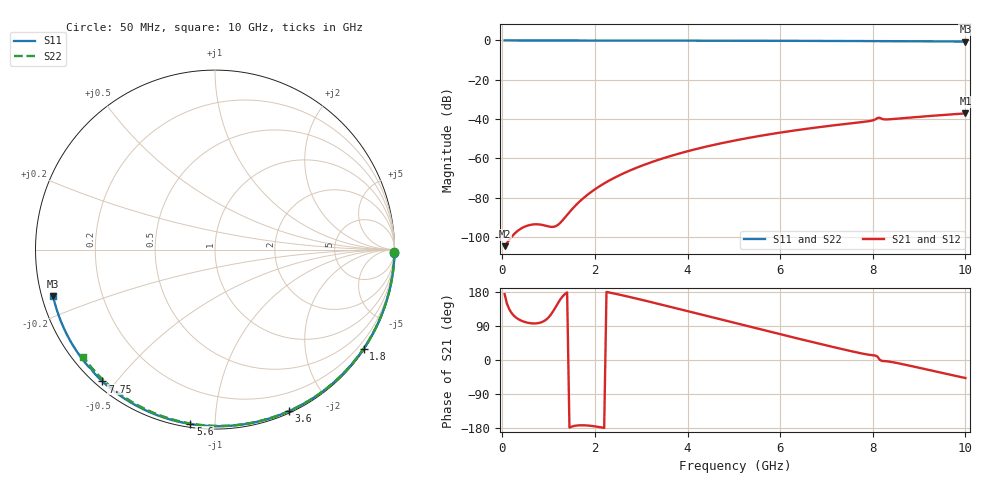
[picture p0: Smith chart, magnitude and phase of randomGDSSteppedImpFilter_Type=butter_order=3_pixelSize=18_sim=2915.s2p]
! freq	dB(S11)	phase(S11)	dB(S12)	phase(S12)
!  dB(S21)	phase(S21)	dB(S22)	phase(S22)
!S-par simulation data
#  GHz  S  DB  R 50
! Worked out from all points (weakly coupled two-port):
!   200 points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, 50 MHz to 10 GHz, reference 50 ohm
!   highest |S21| = -37.12 dB at 10 GHz (marker M1); lowest = -104.6 dB at 50 MHz (marker M2)
!   lowest |S11| = -0.5 dB at 10 GHz (marker M3), VSWR 31.68, Z = 1.61 - j7.07 ohm
!   |S11| at or under -10 dB: nowhere
!   |S22| runs from -0.5 to 0.0 dB; largest |S21 - S12| = 0
!   S11 on the Smith chart (normalised r, x): 50 MHz: open; 1.8 GHz: 0.03, -3.30; 3.6 GHz: 0.02, -1.55; 5.6 GHz: 0.02, -0.87; 7.75 GHz: 0.02, -0.46; 10 GHz: 0.03, -0.14
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0.05  -0.00 -1.0  -104.63 173.9  -104.63 173.9  -0.00 -0.8
0.85  -0.02 -16.1  -93.75 99.8  -93.75 99.8  -0.02 -13.8
1.75  -0.04 -32.8  -80.21 -172.2  -80.21 -172.2  -0.04 -28.1
1.8  -0.04 -33.7  -79.23 -172.5  -79.23 -172.5  -0.04 -28.9
2.1  -0.05 -39.2  -74.15 -177.0  -74.15 -177.0  -0.04 -33.5
2.5  -0.06 -46.4  -68.91 173.2  -68.91 173.2  -0.05 -39.7
2.9  -0.07 -53.5  -64.73 162.0  -64.73 162.0  -0.06 -45.8
3.4  -0.08 -62.1  -60.49 147.2  -60.49 147.2  -0.07 -53.4
3.6  -0.09 -65.5  -59.01 141.1  -59.01 141.1  -0.08 -56.3
4.3  -0.11 -77.3  -54.57 119.8  -54.57 119.8  -0.09 -66.5
5.05  -0.14 -89.4  -50.74 96.9  -50.74 96.9  -0.12 -77.1
5.6  -0.16 -98.1  -48.39 80.2  -48.39 80.2  -0.14 -84.7
6.15  -0.19 -106.5  -46.33 63.6  -46.33 63.6  -0.16 -92.1
6.7  -0.22 -114.9  -44.52 47.2  -44.52 47.2  -0.19 -99.3
7.75  -0.30 -130.5  -41.55 17.6  -41.55 17.6  -0.26 -112.8
8  -0.33 -134.2  -40.66 12.6  -40.66 12.6  -0.28 -115.9
8.1  -0.37 -135.7  -39.45 9.1  -39.45 9.1  -0.29 -117.2
8.15  -0.37 -136.2  -39.29 0.7  -39.29 0.7  -0.29 -117.8
8.25  -0.35 -137.7  -40.13 -2.9  -40.13 -2.9  -0.30 -119.1
8.35  -0.36 -139.2  -40.11 -4.2  -40.11 -4.2  -0.31 -120.3
9.2  -0.45 -151.8  -38.47 -26.0  -38.47 -26.0  -0.39 -130.9
10  -0.55 -163.9  -37.12 -47.6  -37.12 -47.6  -0.47 -140.8
